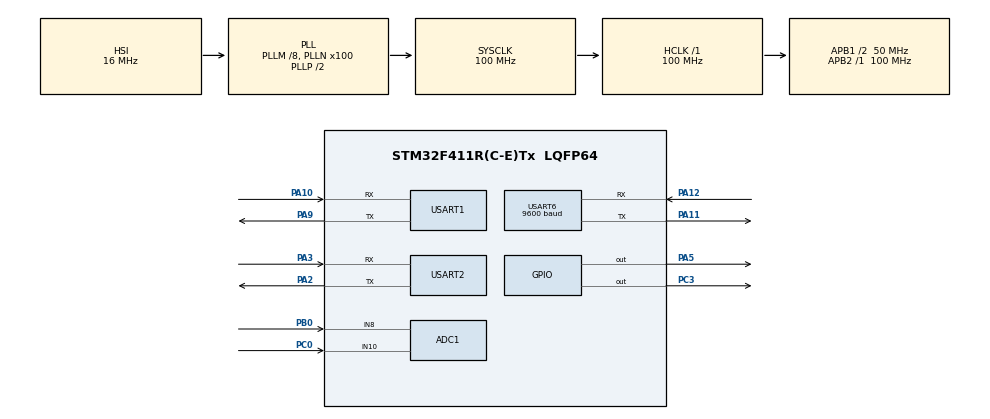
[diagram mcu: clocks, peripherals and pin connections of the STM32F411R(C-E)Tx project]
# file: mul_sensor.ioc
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ADC1.Channel-1\#ChannelRegularConversion=ADC_CHANNEL_10
ADC1.Channel-2\#ChannelRegularConversion=ADC_CHANNEL_8
ADC1.ContinuousConvMode=ENABLE
ADC1.DMAContinuousRequests=ENABLE
ADC1.NbrOfConversion=2
ADC1.NbrOfConversionFlag=1
ADC1.Rank-1\#ChannelRegularConversion=1
ADC1.Rank-2\#ChannelRegularConversion=2
ADC1.SamplingTime-1\#ChannelRegularConversion=ADC_SAMPLETIME_480CYCLES
ADC1.SamplingTime-2\#ChannelRegularConversion=ADC_SAMPLETIME_480CYCLES
ADC1.ScanConvMode=ENABLE
ADC1.master=1
Dma.ADC1.0.Direction=DMA_PERIPH_TO_MEMORY
Dma.ADC1.0.FIFOMode=DMA_FIFOMODE_DISABLE
Dma.ADC1.0.Instance=DMA2_Stream0
Dma.ADC1.0.MemDataAlignment=DMA_MDATAALIGN_WORD
Dma.ADC1.0.MemInc=DMA_MINC_ENABLE
Dma.ADC1.0.Mode=DMA_CIRCULAR
Dma.ADC1.0.PeriphDataAlignment=DMA_PDATAALIGN_WORD
Dma.ADC1.0.PeriphInc=DMA_PINC_DISABLE
Dma.ADC1.0.Priority=DMA_PRIORITY_LOW
Dma.Request0=ADC1
Mcu.Family=STM32F4
Mcu.Name=STM32F411R(C-E)Tx
Mcu.Package=LQFP64
NVIC.ADC_IRQn=true\:0\:0\:false\:false\:true\:true\:true
NVIC.DMA2_Stream0_IRQn=true\:0\:0\:false\:false\:true\:false\:true
NVIC.PriorityGroup=NVIC_PRIORITYGROUP_4
NVIC.USART1_IRQn=true\:1\:0\:true\:false\:true\:true\:true
NVIC.USART2_IRQn=true\:1\:0\:true\:false\:true\:true\:true
NVIC.USART6_IRQn=true\:0\:0\:false\:false\:true\:true\:true
PA10.Mode=Asynchronous
PA10.Signal=USART1_RX
PA11.Mode=Asynchronous
PA11.Signal=USART6_TX
PA12.Mode=Asynchronous
PA12.Signal=USART6_RX
PA13.Mode=Serial_Wire
PA13.Signal=SYS_JTMS-SWDIO
PA14.Mode=Serial_Wire
PA14.Signal=SYS_JTCK-SWCLK
PA2.Mode=Asynchronous
PA2.Signal=USART2_TX
PA3.Mode=Asynchronous
PA3.Signal=USART2_RX
PA5.Signal=GPIO_Output
PA9.Mode=Asynchronous
PA9.Signal=USART1_TX
PB0.Signal=ADCx_IN8
PC0.Signal=ADCx_IN10
PC3.Signal=GPIO_Output
PH0\ -\ OSC_IN.Mode=HSE-External-Oscillator
PH0\ -\ OSC_IN.Signal=RCC_OSC_IN
PH1\ -\ OSC_OUT.Mode=HSE-External-Oscillator
PH1\ -\ OSC_OUT.Signal=RCC_OSC_OUT
ProjectManager.HeapSize=0x200
ProjectManager.StackSize=0x400
ProjectManager.TargetToolchain=STM32CubeIDE
RCC.48MHZClocksFreq_Value=50000000
RCC.AHBFreq_Value=100000000
RCC.APB1CLKDivider=RCC_HCLK_DIV2
RCC.APB1Freq_Value=50000000
RCC.APB1TimFreq_Value=100000000
RCC.APB2Freq_Value=100000000
RCC.APB2TimFreq_Value=100000000
RCC.CortexFreq_Value=100000000
RCC.HCLKFreq_Value=100000000
RCC.HSE_VALUE=25000000
RCC.HSI_VALUE=16000000
RCC.LSE_VALUE=32768
RCC.PLLM=8
RCC.PLLN=100
RCC.SYSCLKFreq_VALUE=100000000
RCC.SYSCLKSource=RCC_SYSCLKSOURCE_PLLCLK
RCC.VCOOutputFreq_Value=200000000
SH.ADCx_IN10.0=ADC1_IN10,IN10
SH.ADCx_IN8.0=ADC1_IN8,IN8
TIM1.AutoReloadPreload=TIM_AUTORELOAD_PRELOAD_ENABLE
TIM1.Period=0xffff-1
TIM1.Prescaler=100-1
USART1.VirtualMode=VM_ASYNC
USART2.VirtualMode=VM_ASYNC
USART6.BaudRate=9600
USART6.VirtualMode=VM_ASYNC
VP_TIM1_VS_ClockSourceINT.Mode=Internal
board=custom

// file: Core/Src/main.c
/* USER CODE BEGIN Header */
/**
  ******************************************************************************
  * @file           : main.c
  * @brief          : Main program body
  ******************************************************************************
  * @attention
  *
  * <h2><center>&copy; Copyright (c) 2023 STMicroelectronics.
  * All rights reserved.</center></h2>
  *
  * This software component is licensed by ST under BSD 3-Clause license,
  * the "License"; You may not use this file except in compliance with the
  * License. You may obtain a copy of the License at:
  *                        opensource.org/licenses/BSD-3-Clause
  *
  ******************************************************************************
  */
/* USER CODE END Header */
#include "main.h"

/* USER CODE BEGIN Includes */
#include "main.h"
#include "stdio.h"
#include "stdint.h"
#include <string.h>
#include "ESPDatalogger.h"
#include "sds011.h"
/* USER CODE END Includes */

ADC_HandleTypeDef hadc1;
DMA_HandleTypeDef hdma_adc1;

TIM_HandleTypeDef htim1;

UART_HandleTypeDef huart1;
UART_HandleTypeDef huart2;
UART_HandleTypeDef huart6;

/* USER CODE BEGIN PV */
SDS sds;
/* USER CODE END PV */

void SystemClock_Config(void);
static void MX_GPIO_Init(void);
static void MX_DMA_Init(void);
static void MX_ADC1_Init(void);
static void MX_TIM1_Init(void);
static void MX_USART2_UART_Init(void);
static void MX_USART1_UART_Init(void);
static void MX_USART6_UART_Init(void);

/* USER CODE BEGIN 0 */
uint16_t Value_buf[9];

#define DHT22_PORT GPIOC
#define DHT22_PIN GPIO_PIN_4

uint8_t RH1, RH2, TC1, TC2, SUM, CHECK;
uint32_t pMillis, cMillis;
float tCelsius = 0;
float tFahrenheit = 0;
float RH = 0;

void microDelay (uint32_t delay)
{
  __HAL_TIM_SET_COUNTER(&htim1, 0);
  while (__HAL_TIM_GET_COUNTER(&htim1) < delay);
}

uint8_t DHT22_Start (void)
{
  uint8_t Response = 0;
  GPIO_InitTypeDef GPIO_InitStructPrivate = {0};
  GPIO_InitStructPrivate.Pin = DHT22_PIN;
  GPIO_InitStructPrivate.Mode = GPIO_MODE_OUTPUT_PP;
  GPIO_InitStructPrivate.Speed = GPIO_SPEED_FREQ_LOW;
  GPIO_InitStructPrivate.Pull = GPIO_NOPULL;
  HAL_GPIO_Init(DHT22_PORT, &GPIO_InitStructPrivate); // set the pin as output
  HAL_GPIO_WritePin (DHT22_PORT, DHT22_PIN, 0);   // pull the pin low
  microDelay (1300);   // wait for 1300us
  HAL_GPIO_WritePin (DHT22_PORT, DHT22_PIN, 1);   // pull the pin high
  microDelay (30);   // wait for 30us
  GPIO_InitStructPrivate.Mode = GPIO_MODE_INPUT;
  GPIO_InitStructPrivate.Pull = GPIO_PULLUP;
  HAL_GPIO_Init(DHT22_PORT, &GPIO_InitStructPrivate); // set the pin as input
  microDelay (40);
  if (!(HAL_GPIO_ReadPin (DHT22_PORT, DHT22_PIN)))
  {
    microDelay (80);
    if ((HAL_GPIO_ReadPin (DHT22_PORT, DHT22_PIN))) Response = 1;
  }
  pMillis = HAL_GetTick();
  cMillis = HAL_GetTick();
  while ((HAL_GPIO_ReadPin (DHT22_PORT, DHT22_PIN)) && pMillis + 2 > cMillis)
  {
    cMillis = HAL_GetTick();
  }
  return Response;
}

uint8_t DHT22_Read (void)
{
  uint8_t a,b;
  for (a=0;a<8;a++)
  {
    pMillis = HAL_GetTick();
    cMillis = HAL_GetTick();
    while (!(HAL_GPIO_ReadPin (DHT22_PORT, DHT22_PIN)) && pMillis + 2 > cMillis)
    {  // wait for the pin to go high
      cMillis = HAL_GetTick();
    }
    microDelay (40);   // wait for 40 us
    if (!(HAL_GPIO_ReadPin (DHT22_PORT, DHT22_PIN)))   // if the pin is low
      b&= ~(1<<(7-a));
    else
      b|= (1<<(7-a));
    pMillis = HAL_GetTick();
    cMillis = HAL_GetTick();
    while ((HAL_GPIO_ReadPin (DHT22_PORT, DHT22_PIN)) && pMillis + 2 > cMillis)
    {  // wait for the pin to go low
      cMillis = HAL_GetTick();
    }
  }
  return b;
}

void Read_DHT22()
{
    if(DHT22_Start())
    {
      RH1 = DHT22_Read(); // First 8bits of humidity
      RH2 = DHT22_Read(); // Second 8bits of Relative humidity
      TC1 = DHT22_Read(); // First 8bits of Celsius
      TC2 = DHT22_Read(); // Second 8bits of Celsius
      SUM = DHT22_Read(); // Check sum
      CHECK = RH1 + RH2 + TC1 + TC2;
      if (CHECK == SUM)
      {
        if (TC1>127) // If TC1=10000000, negative temperature
        {
          tCelsius = (float)TC2/10*(-1);
        }
        else
        {
          tCelsius = (float)((TC1<<8)|TC2)/10;
        }
        tFahrenheit = tCelsius * 9/5 + 32;
        RH = (float) ((RH1<<8)|RH2)/10;
      }
    }
}

void delay_us (uint16_t us)
{
	__HAL_TIM_SET_COUNTER(&htim1,0);  // set the counter value a 0
	while (__HAL_TIM_GET_COUNTER(&htim1) < us);  // wait for the counter to reach the us input in the parameter
}

uint32_t khi_doc = 0;
uint32_t khi_CO = 0;
uint32_t khong_khi[2];

void adc_read()
{
	  HAL_ADC_Start_DMA(&hadc1, khong_khi, 2);
	  HAL_Delay(10);
	  HAL_ADC_Stop_DMA(&hadc1);
}

void cl_khong_khi()
{
	  adc_read();
	  float adc_khi_doc;
	  adc_khi_doc = ((float)khong_khi[1] / 4095 * 3.3);
	  float CORA = 0.00035;
	  float CORB = 0.02718;
	  float CORC = 1.39538;
	  float CORD = 0.0018; //tham so su phu thuoc nhiet do vs do am
	  float tham_so_dc;
	  tham_so_dc = CORA * tCelsius * tCelsius - CORB * tCelsius + CORC - (RH-33.) * CORD;
	  float RLOAD = 150.0;// gia tri dien tro
	  float gt_dien_tro, gt_dien_tro_cs;
	  gt_dien_tro = adc_khi_doc * RLOAD;
	  gt_dien_tro_cs = gt_dien_tro / tham_so_dc;
	  float PARA = 116.6020682;
	  float PARB = 2.769034857; //tham so tinh ppm tu dien tro cam bien
	  float RZERO = 76.63; //dt chuan trong khi quyen
	  khi_doc = PARA * pow((gt_dien_tro_cs / RZERO), -PARB);

	  float adc_khi_CO;
	  adc_khi_CO = ((float)khong_khi[0] / 4095 * 3.3);
	  float dt_RsRL;
	  dt_RsRL = (5 - adc_khi_CO) / adc_khi_CO;
	  float LOAD_RES = 10.0;
	  float dt_Rs;
	  dt_Rs = LOAD_RES * dt_RsRL;
	  float COEF_A0 = 100.0;
	  float COEF_A1 = -1.513;
	  float R0 = 9;
	  khi_CO = COEF_A0 * pow(dt_Rs / R0, COEF_A1);
}

uint16_t pm2_5 = 0;
uint16_t pm10 = 0;

/* USER CODE END 0 */

int main(void)
{

  /* MCU Configuration--------------------------------------------------------*/

  /* Reset of all peripherals, Initializes the Flash interface and the Systick. */
  HAL_Init();

  /* Configure the system clock */
  SystemClock_Config();

  /* Initialize all configured peripherals */
  MX_GPIO_Init();
  MX_DMA_Init();
  MX_ADC1_Init();
  MX_TIM1_Init();
  MX_USART2_UART_Init();
  MX_USART1_UART_Init();
  MX_USART6_UART_Init();
  /* USER CODE BEGIN 2 */
  HAL_TIM_Base_Start(&htim1);
  sdsInit(&sds, &huart6);
  ESP_Init("Tam Duyen 1", "tamduyen");
  /* USER CODE END 2 */

  /* Infinite loop */
  while (1)
  {

    /* USER CODE BEGIN 3 */
	  //Read_DataDHT();
	  if (Value_buf[8] == 1)
	  {
		  HAL_Delay(10);
	  }
	  else
	  {
		  ESP_Init("Tam Duyen 1", "tamduyen");
	  }
	  Value_buf[6] = 0;

	  Read_DHT22();
	  pm2_5 = sdsGetPm2_5(&sds);
	  pm10 = sdsGetPm10(&sds);
	  cl_khong_khi();
	  Value_buf[0] = tCelsius;//nhiet do
	  Value_buf[1] = RH;//do am
	  Value_buf[2] = pm2_5;//pm2.5
	  Value_buf[3] = pm10;//pm10
	  Value_buf[4] = khi_CO;//COppm
	  Value_buf[5] = khi_doc;//khi_docppm
	  Value_buf[6] = 160;//kinh do
	  Value_buf[7] = 108;//vi do
	  if (Value_buf[0] != 0)
	  {
		  HAL_GPIO_WritePin(GPIOA, GPIO_PIN_5, 1);
	  }
	  else
	  {
		  HAL_GPIO_WritePin(GPIOA, GPIO_PIN_5, 1);
	  }
	  ESP_Send_Multi("VJZ8T2GZ4TCE9H2V", 8, Value_buf);
	  Value_buf[8] = 1;
	  Value_buf[0] = 0;
	  HAL_Delay(30000);
  }

  /* USER CODE END 3 */
}

void SystemClock_Config(void)
{
  RCC_OscInitTypeDef RCC_OscInitStruct = {0};
  RCC_ClkInitTypeDef RCC_ClkInitStruct = {0};

  /** Configure the main internal regulator output voltage
  */
  __HAL_RCC_PWR_CLK_ENABLE();
  __HAL_PWR_VOLTAGESCALING_CONFIG(PWR_REGULATOR_VOLTAGE_SCALE1);
  /** Initializes the RCC Oscillators according to the specified parameters
  * in the RCC_OscInitTypeDef structure.
  */
  RCC_OscInitStruct.OscillatorType = RCC_OSCILLATORTYPE_HSI;
  RCC_OscInitStruct.HSIState = RCC_HSI_ON;
  RCC_OscInitStruct.HSICalibrationValue = RCC_HSICALIBRATION_DEFAULT;
  RCC_OscInitStruct.PLL.PLLState = RCC_PLL_ON;
  RCC_OscInitStruct.PLL.PLLSource = RCC_PLLSOURCE_HSI;
  RCC_OscInitStruct.PLL.PLLM = 8;
  RCC_OscInitStruct.PLL.PLLN = 100;
  RCC_OscInitStruct.PLL.PLLP = RCC_PLLP_DIV2;
  RCC_OscInitStruct.PLL.PLLQ = 4;
  if (HAL_RCC_OscConfig(&RCC_OscInitStruct) != HAL_OK)
  {
    Error_Handler();
  }
  /** Initializes the CPU, AHB and APB buses clocks
  */
  RCC_ClkInitStruct.ClockType = RCC_CLOCKTYPE_HCLK|RCC_CLOCKTYPE_SYSCLK
                              |RCC_CLOCKTYPE_PCLK1|RCC_CLOCKTYPE_PCLK2;
  RCC_ClkInitStruct.SYSCLKSource = RCC_SYSCLKSOURCE_PLLCLK;
  RCC_ClkInitStruct.AHBCLKDivider = RCC_SYSCLK_DIV1;
  RCC_ClkInitStruct.APB1CLKDivider = RCC_HCLK_DIV2;
  RCC_ClkInitStruct.APB2CLKDivider = RCC_HCLK_DIV1;

  if (HAL_RCC_ClockConfig(&RCC_ClkInitStruct, FLASH_LATENCY_3) != HAL_OK)
  {
    Error_Handler();
  }
}

static void MX_ADC1_Init(void)
{

  ADC_ChannelConfTypeDef sConfig = {0};

  /** Configure the global features of the ADC (Clock, Resolution, Data Alignment and number of conversion)
  */
  hadc1.Instance = ADC1;
  hadc1.Init.ClockPrescaler = ADC_CLOCK_SYNC_PCLK_DIV4;
  hadc1.Init.Resolution = ADC_RESOLUTION_12B;
  hadc1.Init.ScanConvMode = ENABLE;
  hadc1.Init.ContinuousConvMode = ENABLE;
  hadc1.Init.DiscontinuousConvMode = DISABLE;
  hadc1.Init.ExternalTrigConvEdge = ADC_EXTERNALTRIGCONVEDGE_NONE;
  hadc1.Init.ExternalTrigConv = ADC_SOFTWARE_START;
  hadc1.Init.DataAlign = ADC_DATAALIGN_RIGHT;
  hadc1.Init.NbrOfConversion = 2;
  hadc1.Init.DMAContinuousRequests = ENABLE;
  hadc1.Init.EOCSelection = ADC_EOC_SINGLE_CONV;
  if (HAL_ADC_Init(&hadc1) != HAL_OK)
  {
    Error_Handler();
  }
  /** Configure for the selected ADC regular channel its corresponding rank in the sequencer and its sample time.
  */
  sConfig.Channel = ADC_CHANNEL_10;
  sConfig.Rank = 1;
  sConfig.SamplingTime = ADC_SAMPLETIME_480CYCLES;
  if (HAL_ADC_ConfigChannel(&hadc1, &sConfig) != HAL_OK)
  {
    Error_Handler();
  }
  /** Configure for the selected ADC regular channel its corresponding rank in the sequencer and its sample time.
  */
  sConfig.Channel = ADC_CHANNEL_8;
  sConfig.Rank = 2;
  if (HAL_ADC_ConfigChannel(&hadc1, &sConfig) != HAL_OK)
  {
    Error_Handler();
  }

}

static void MX_TIM1_Init(void)
{

  TIM_ClockConfigTypeDef sClockSourceConfig = {0};
  TIM_MasterConfigTypeDef sMasterConfig = {0};

  htim1.Instance = TIM1;
  htim1.Init.Prescaler = 100-1;
  htim1.Init.CounterMode = TIM_COUNTERMODE_UP;
  htim1.Init.Period = 0xffff-1;
  htim1.Init.ClockDivision = TIM_CLOCKDIVISION_DIV1;
  htim1.Init.RepetitionCounter = 0;
  htim1.Init.AutoReloadPreload = TIM_AUTORELOAD_PRELOAD_ENABLE;
  if (HAL_TIM_Base_Init(&htim1) != HAL_OK)
  {
    Error_Handler();
  }
  sClockSourceConfig.ClockSource = TIM_CLOCKSOURCE_INTERNAL;
  if (HAL_TIM_ConfigClockSource(&htim1, &sClockSourceConfig) != HAL_OK)
  {
    Error_Handler();
  }
  sMasterConfig.MasterOutputTrigger = TIM_TRGO_RESET;
  sMasterConfig.MasterSlaveMode = TIM_MASTERSLAVEMODE_DISABLE;
  if (HAL_TIMEx_MasterConfigSynchronization(&htim1, &sMasterConfig) != HAL_OK)
  {
    Error_Handler();
  }

}

static void MX_USART1_UART_Init(void)
{

  huart1.Instance = USART1;
  huart1.Init.BaudRate = 115200;
  huart1.Init.WordLength = UART_WORDLENGTH_8B;
  huart1.Init.StopBits = UART_STOPBITS_1;
  huart1.Init.Parity = UART_PARITY_NONE;
  huart1.Init.Mode = UART_MODE_TX_RX;
  huart1.Init.HwFlowCtl = UART_HWCONTROL_NONE;
  huart1.Init.OverSampling = UART_OVERSAMPLING_16;
  if (HAL_UART_Init(&huart1) != HAL_OK)
  {
    Error_Handler();
  }

}

static void MX_USART2_UART_Init(void)
{

  huart2.Instance = USART2;
  huart2.Init.BaudRate = 115200;
  huart2.Init.WordLength = UART_WORDLENGTH_8B;
  huart2.Init.StopBits = UART_STOPBITS_1;
  huart2.Init.Parity = UART_PARITY_NONE;
  huart2.Init.Mode = UART_MODE_TX_RX;
  huart2.Init.HwFlowCtl = UART_HWCONTROL_NONE;
  huart2.Init.OverSampling = UART_OVERSAMPLING_16;
  if (HAL_UART_Init(&huart2) != HAL_OK)
  {
    Error_Handler();
  }

}

static void MX_USART6_UART_Init(void)
{

  huart6.Instance = USART6;
  huart6.Init.BaudRate = 9600;
  huart6.Init.WordLength = UART_WORDLENGTH_8B;
  huart6.Init.StopBits = UART_STOPBITS_1;
  huart6.Init.Parity = UART_PARITY_NONE;
  huart6.Init.Mode = UART_MODE_TX_RX;
  huart6.Init.HwFlowCtl = UART_HWCONTROL_NONE;
  huart6.Init.OverSampling = UART_OVERSAMPLING_16;
  if (HAL_UART_Init(&huart6) != HAL_OK)
  {
    Error_Handler();
  }

}

static void MX_DMA_Init(void)
{

  /* DMA controller clock enable */
  __HAL_RCC_DMA2_CLK_ENABLE();

  /* DMA interrupt init */
  /* DMA2_Stream0_IRQn interrupt configuration */
  HAL_NVIC_SetPriority(DMA2_Stream0_IRQn, 0, 0);
  HAL_NVIC_EnableIRQ(DMA2_Stream0_IRQn);

}

static void MX_GPIO_Init(void)
{
  GPIO_InitTypeDef GPIO_InitStruct = {0};

  /* GPIO Ports Clock Enable */
  __HAL_RCC_GPIOH_CLK_ENABLE();
  __HAL_RCC_GPIOC_CLK_ENABLE();
  __HAL_RCC_GPIOA_CLK_ENABLE();
  __HAL_RCC_GPIOB_CLK_ENABLE();

  /*Configure GPIO pin Output Level */
  HAL_GPIO_WritePin(GPIOC, GPIO_PIN_3, GPIO_PIN_RESET);

  /*Configure GPIO pin Output Level */
  HAL_GPIO_WritePin(GPIOA, GPIO_PIN_5, GPIO_PIN_RESET);

  /*Configure GPIO pin : PC3 */
  GPIO_InitStruct.Pin = GPIO_PIN_3;
  GPIO_InitStruct.Mode = GPIO_MODE_OUTPUT_PP;
  GPIO_InitStruct.Pull = GPIO_NOPULL;
  GPIO_InitStruct.Speed = GPIO_SPEED_FREQ_LOW;
  HAL_GPIO_Init(GPIOC, &GPIO_InitStruct);

  /*Configure GPIO pin : PA5 */
  GPIO_InitStruct.Pin = GPIO_PIN_5;
  GPIO_InitStruct.Mode = GPIO_MODE_OUTPUT_PP;
  GPIO_InitStruct.Pull = GPIO_NOPULL;
  GPIO_InitStruct.Speed = GPIO_SPEED_FREQ_LOW;
  HAL_GPIO_Init(GPIOA, &GPIO_InitStruct);

}

/* USER CODE BEGIN 4 */
void HAL_UART_RxCpltCallback(UART_HandleTypeDef *huart)
{
sds_uart_RxCpltCallback(&sds,huart);
}
/* USER CODE END 4 */

void Error_Handler(void)
{
}

/************************ (C) COPYRIGHT STMicroelectronics *****END OF FILE****/
